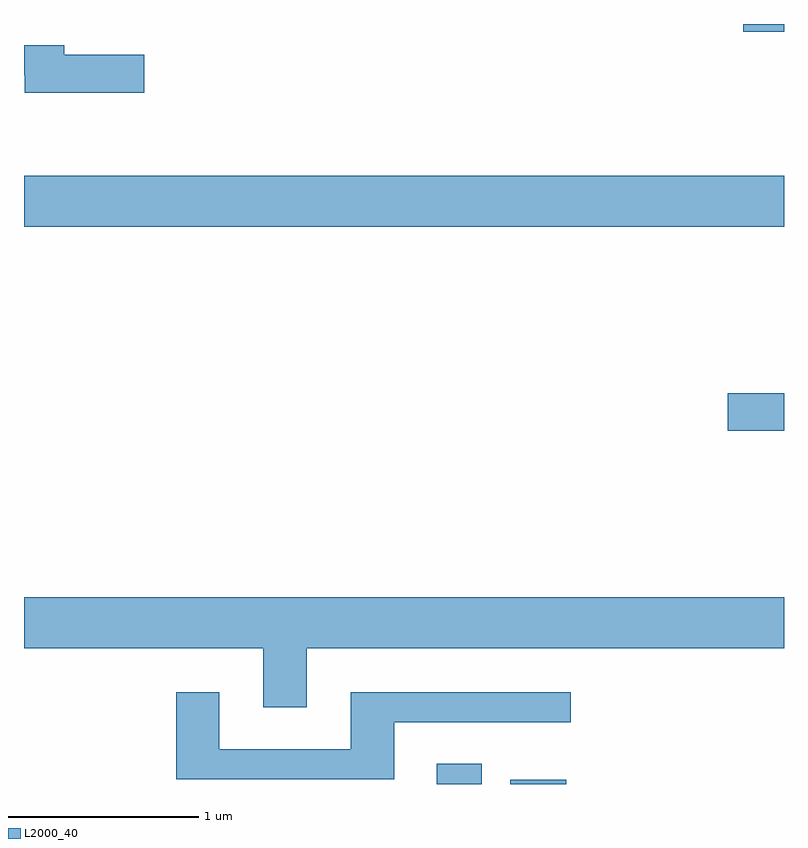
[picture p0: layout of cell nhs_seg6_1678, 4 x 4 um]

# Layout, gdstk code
import gdstk
lib = gdstk.Library(unit=1e-6, precision=1e-09)
def R(c, l, rs):  # rectangles x0, y0, x1, y1
    for r in rs: c.add(gdstk.rectangle(r[:2], r[2:], *l))
def P(c, l, *ps):  # polygons
    for p in ps: c.add(gdstk.Polygon(p, *l))
L2000_40 = (2000, 40)

nhs_seg6_1678 = lib.new_cell('nhs_seg6_1678')
R(nhs_seg6_1678, L2000_40, [(237.783,1598.162,238.019,1598.269), (238.171,1598.162,238.464,1598.184), (239.316,1600.021,239.611,1600.219), (235.611,1601.096,239.611,1601.364), (239.396,1602.121,239.611,1602.162)])
P(nhs_seg6_1678, L2000_40, [(236.244,1601.999),(235.824,1601.999),(235.824,1602.049),(235.611,1602.049),(235.611,1601.891),(235.616,1601.891),(235.616,1601.801),(236.244,1601.801)],
  [(237.099,1598.876),(239.611,1598.876),(239.611,1599.144),(235.611,1599.144),(235.611,1598.876),(236.871,1598.876),(236.871,1598.566),(237.099,1598.566)],
  [(237.559,1598.486),(238.488,1598.486),(238.488,1598.644),(237.331,1598.644),(237.331,1598.344),(236.639,1598.344),(236.639,1598.644),(236.411,1598.644),(236.411,1598.186),(237.559,1598.186)])

lib.write_gds('nhs_seg6_1678.gds')
